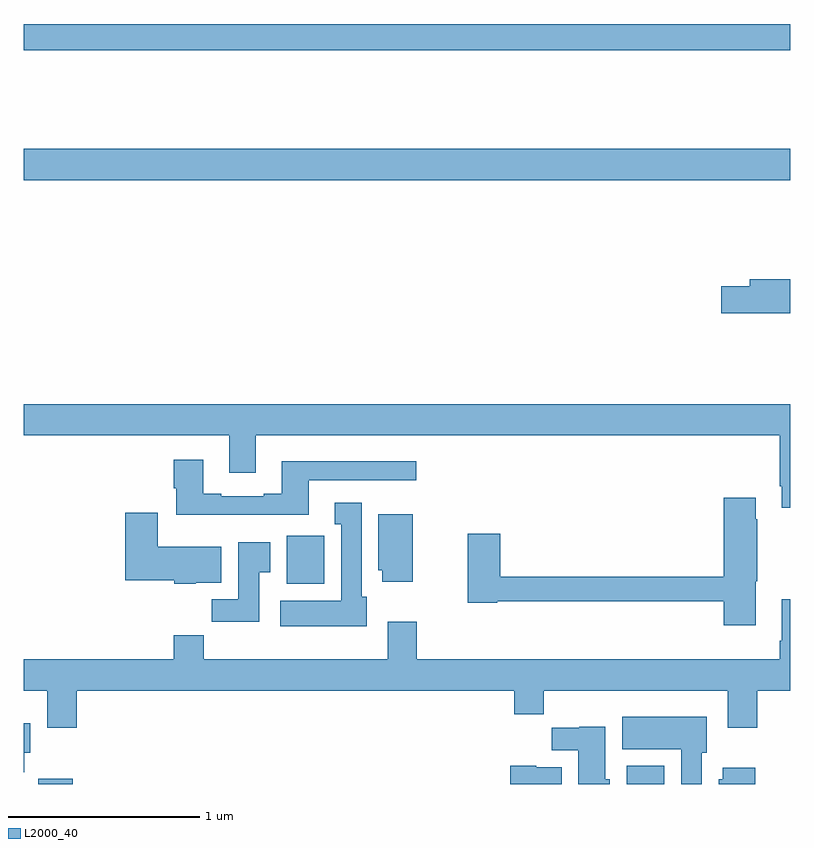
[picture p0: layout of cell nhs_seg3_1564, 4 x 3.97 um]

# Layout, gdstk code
import gdstk
lib = gdstk.Library(unit=1e-6, precision=1e-09)
def R(c, l, rs):  # rectangles x0, y0, x1, y1
    for r in rs: c.add(gdstk.rectangle(r[:2], r[2:], *l))
def P(c, l, *ps):  # polygons
    for p in ps: c.add(gdstk.Polygon(p, *l))
L2000_40 = (2000, 40)

nhs_seg3_1564 = lib.new_cell('nhs_seg3_1564')
R(nhs_seg3_1564, L2000_40, [(191.075,728.4,191.254,728.428), (194.147,728.4,194.344,728.494), (192.371,729.446,192.567,729.697), (191,731.552,195,731.716), (191,732.232,195,732.368)])
P(nhs_seg3_1564, L2000_40, [(195,731.036),(194.789,731.036),(194.789,731),(194.64,731),(194.64,730.858),(195,730.858)],
  [(191,730.22),(192.071,730.22),(192.071,730.026),(192.211,730.026),(192.211,730.22),(194.945,730.22),(194.945,729.955),(194.957,729.955),(194.957,729.843),(195,729.843),(195,730.384),(191,730.384)],
  [(192.487,729.987),(193.048,729.987),(193.048,730.084),(192.347,730.084),(192.347,729.916),(192.251,729.916),(192.251,729.903),(192.031,729.903),(192.031,729.916),(191.935,729.916),(191.935,730.093),(191.783,730.093),(191.783,729.945),(191.795,729.945),(191.795,729.806),(192.487,729.806)],
  [(194.821,729.459),(194.829,729.459),(194.829,729.782),(194.821,729.782),(194.821,729.895),(194.654,729.895),(194.654,729.482),(193.487,729.482),(193.487,729.706),(193.316,729.706),(193.316,729.346),(193.47,729.346),(193.47,729.354),(194.654,729.354),(194.654,729.228),(194.821,729.228)],
  [(192.79,729.378),(192.763,729.378),(192.763,729.868),(192.623,729.868),(192.623,729.755),(192.656,729.755),(192.656,729.358),(192.339,729.358),(192.339,729.224),(192.79,729.224)],
  [(191.898,729.452),(192.031,729.452),(192.031,729.64),(191.698,729.64),(191.698,729.817),(191.528,729.817),(191.528,729.464),(191.784,729.464),(191.784,729.446),(191.898,729.446)],
  [(193.03,729.808),(192.851,729.808),(192.851,729.516),(192.872,729.516),(192.872,729.456),(193.03,729.456)],
  [(192.229,729.505),(192.286,729.505),(192.286,729.661),(192.119,729.661),(192.119,729.364),(191.98,729.364),(191.98,729.246),(192.229,729.246)],
  [(191.276,728.888),(193.559,728.888),(193.559,728.764),(193.715,728.764),(193.715,728.888),(194.675,728.888),(194.675,728.694),(194.828,728.694),(194.828,728.888),(195,728.888),(195,729.364),(194.957,729.364),(194.957,729.148),(194.945,729.148),(194.945,729.052),(193.052,729.052),(193.052,729.247),(192.899,729.247),(192.899,729.052),(191.939,729.052),(191.939,729.176),(191.783,729.176),(191.783,729.052),(191,729.052),(191,728.888),(191.123,728.888),(191.123,728.694),(191.276,728.694)],
  [(194.539,728.562),(194.566,728.562),(194.566,728.752),(194.123,728.752),(194.123,728.582),(194.432,728.582),(194.432,728.4),(194.539,728.4)],
  [(191.002,728.562),(191.032,728.562),(191.032,728.716),(191,728.716),(191,728.462),(191.002,728.462)],
  [(194.059,728.424),(194.035,728.424),(194.035,728.698),(193.899,728.698),(193.899,728.694),(193.756,728.694),(193.756,728.576),(193.895,728.576),(193.895,728.4),(194.059,728.4)],
  [(193.807,728.488),(193.674,728.488),(193.674,728.494),(193.538,728.494),(193.538,728.4),(193.807,728.4)],
  [(194.819,728.485),(194.648,728.485),(194.648,728.424),(194.627,728.424),(194.627,728.4),(194.819,728.4)])

lib.write_gds('nhs_seg3_1564.gds')
